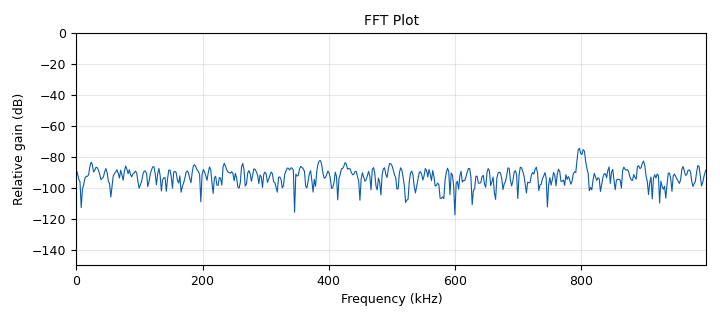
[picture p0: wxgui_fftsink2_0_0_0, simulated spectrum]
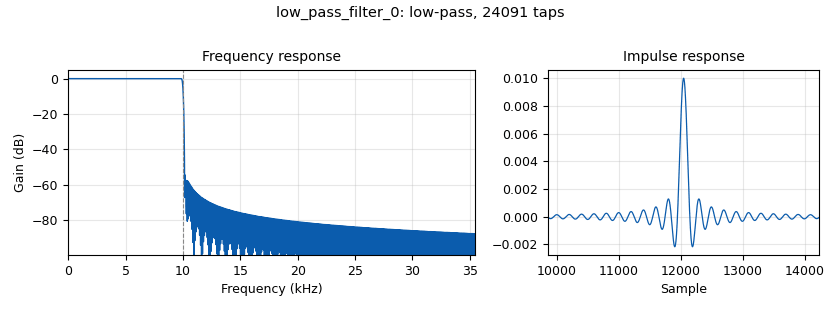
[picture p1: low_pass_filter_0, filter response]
<?xml version='1.0' encoding='utf-8'?>
<?grc format='1' created='3.7.11'?>
<flow_graph>
<block>
<key>options</key>
<param><key>id</key><value>top_block</value></param>
<param><key>category</key><value>Custom</value></param>
<param><key>generate_options</key><value>wx_gui</value></param>
</block>
<block>
<key>variable</key>
<param><key>id</key><value>decimated_rate</value></param>
<param><key>value</key><value>samp_rate / 20</value></param>
</block>
<block>
<key>variable</key>
<param><key>id</key><value>samp_rate</value></param>
<param><key>value</key><value>2000000</value></param>
</block>
<block>
<key>analog_fastnoise_source_x</key>
<param><key>id</key><value>analog_fastnoise_source_x_0</value></param>
<param><key>amp</key><value>0.001</value></param>
<param><key>noise_type</key><value>analog.GR_GAUSSIAN</value></param>
<param><key>type</key><value>float</value></param>
<param><key>seed</key><value>0</value></param>
<param><key>samples</key><value>8192</value></param>
</block>
<block>
<key>analog_sig_source_x</key>
<param><key>id</key><value>analog_sig_source_x_0</value></param>
<param><key>amp</key><value>0.0005</value></param>
<param><key>freq</key><value>804000</value></param>
<param><key>offset</key><value>0</value></param>
<param><key>type</key><value>float</value></param>
<param><key>samp_rate</key><value>samp_rate</value></param>
<param><key>waveform</key><value>analog.GR_COS_WAVE</value></param>
</block>
<block>
<key>analog_sig_source_x</key>
<param><key>id</key><value>analog_sig_source_x_0_0</value></param>
<param><key>amp</key><value>0.0005</value></param>
<param><key>freq</key><value>796000</value></param>
<param><key>offset</key><value>0</value></param>
<param><key>type</key><value>float</value></param>
<param><key>samp_rate</key><value>samp_rate</value></param>
<param><key>waveform</key><value>analog.GR_COS_WAVE</value></param>
</block>
<block>
<key>analog_sig_source_x</key>
<param><key>id</key><value>analog_sig_source_x_0_1</value></param>
<param><key>amp</key><value>1</value></param>
<param><key>freq</key><value>36000</value></param>
<param><key>offset</key><value>0</value></param>
<param><key>type</key><value>complex</value></param>
<param><key>samp_rate</key><value>decimated_rate</value></param>
<param><key>waveform</key><value>analog.GR_COS_WAVE</value></param>
</block>
<block>
<key>blocks_add_xx</key>
<param><key>id</key><value>blocks_add_xx_0</value></param>
<param><key>type</key><value>float</value></param>
<param><key>num_inputs</key><value>3</value></param>
</block>
<block>
<key>blocks_float_to_complex</key>
<param><key>id</key><value>blocks_float_to_complex_0</value></param>
</block>
<block>
<key>blocks_multiply_xx</key>
<param><key>id</key><value>blocks_multiply_xx_0</value></param>
<param><key>type</key><value>float</value></param>
</block>
<block>
<key>blocks_multiply_xx</key>
<param><key>id</key><value>blocks_multiply_xx_0_0</value></param>
<param><key>type</key><value>float</value></param>
</block>
<block>
<key>blocks_multiply_xx</key>
<param><key>id</key><value>blocks_multiply_xx_1</value></param>
<param><key>type</key><value>complex</value></param>
</block>
<block>
<key>blocks_null_sink</key>
<param><key>id</key><value>blocks_null_sink_0</value></param>
<param><key>bus_conns</key><value>[[0,],]</value></param>
<param><key>type</key><value>complex</value></param>
</block>
<block>
<key>blocks_throttle</key>
<param><key>id</key><value>blocks_throttle_0</value></param>
<param><key>samples_per_second</key><value>decimated_rate</value></param>
<param><key>type</key><value>complex</value></param>
</block>
<block>
<key>blocks_wavfile_source</key>
<param><key>id</key><value>blocks_wavfile_source_0</value></param>
<param><key>_enabled</key><value>0</value></param>
<param><key>file</key><value>white.wav</value></param>
<param><key>repeat</key><value>True</value></param>
</block>
<block>
<key>ddc_ddc_f</key>
<param><key>id</key><value>ddc_ddc_f_0</value></param>
<param><key>amp</key><value>1</value></param>
<param><key>freq</key><value>800000</value></param>
<param><key>samp_rate</key><value>samp_rate</value></param>
</block>
<block>
<key>low_pass_filter</key>
<param><key>id</key><value>low_pass_filter_0</value></param>
<param><key>cutoff_freq</key><value>10000</value></param>
<param><key>decim</key><value>20</value></param>
<param><key>type</key><value>fir_filter_fff</value></param>
<param><key>gain</key><value>1</value></param>
<param><key>samp_rate</key><value>samp_rate</value></param>
<param><key>width</key><value>200</value></param>
<param><key>win</key><value>firdes.WIN_HAMMING</value></param>
</block>
<block>
<key>low_pass_filter</key>
<param><key>id</key><value>low_pass_filter_0_0</value></param>
<param><key>cutoff_freq</key><value>10000</value></param>
<param><key>decim</key><value>20</value></param>
<param><key>type</key><value>fir_filter_fff</value></param>
<param><key>gain</key><value>1</value></param>
<param><key>samp_rate</key><value>samp_rate</value></param>
<param><key>width</key><value>200</value></param>
<param><key>win</key><value>firdes.WIN_HAMMING</value></param>
</block>
<block>
<key>wxgui_fftsink2</key>
<param><key>id</key><value>wxgui_fftsink2_0</value></param>
<param><key>avg_alpha</key><value>0</value></param>
<param><key>average</key><value>False</value></param>
<param><key>baseband_freq</key><value>0</value></param>
<param><key>fft_size</key><value>1024</value></param>
<param><key>freqvar</key><value>None</value></param>
<param><key>peak_hold</key><value>False</value></param>
<param><key>ref_level</key><value>0</value></param>
<param><key>ref_scale</key><value>2.0</value></param>
<param><key>fft_rate</key><value>15</value></param>
<param><key>samp_rate</key><value>decimated_rate</value></param>
<param><key>title</key><value>FFT Plot</value></param>
<param><key>type</key><value>complex</value></param>
<param><key>win_size</key><value>800,500</value></param>
<param><key>win</key><value>None</value></param>
<param><key>y_divs</key><value>15</value></param>
<param><key>y_per_div</key><value>10</value></param>
</block>
<block>
<key>wxgui_fftsink2</key>
<param><key>id</key><value>wxgui_fftsink2_0_0</value></param>
<param><key>avg_alpha</key><value>0</value></param>
<param><key>average</key><value>False</value></param>
<param><key>baseband_freq</key><value>0</value></param>
<param><key>_enabled</key><value>0</value></param>
<param><key>fft_size</key><value>1024</value></param>
<param><key>freqvar</key><value>None</value></param>
<param><key>peak_hold</key><value>False</value></param>
<param><key>ref_level</key><value>0</value></param>
<param><key>ref_scale</key><value>2.0</value></param>
<param><key>fft_rate</key><value>15</value></param>
<param><key>samp_rate</key><value>decimated_rate</value></param>
<param><key>title</key><value>FFT Plot</value></param>
<param><key>type</key><value>complex</value></param>
<param><key>win_size</key><value>800,400</value></param>
<param><key>win</key><value>None</value></param>
<param><key>y_divs</key><value>15</value></param>
<param><key>y_per_div</key><value>10</value></param>
</block>
<block>
<key>wxgui_fftsink2</key>
<param><key>id</key><value>wxgui_fftsink2_0_0_0</value></param>
<param><key>avg_alpha</key><value>0</value></param>
<param><key>average</key><value>False</value></param>
<param><key>baseband_freq</key><value>0</value></param>
<param><key>fft_size</key><value>1024</value></param>
<param><key>freqvar</key><value>None</value></param>
<param><key>peak_hold</key><value>False</value></param>
<param><key>ref_level</key><value>0</value></param>
<param><key>ref_scale</key><value>2.0</value></param>
<param><key>fft_rate</key><value>15</value></param>
<param><key>samp_rate</key><value>samp_rate</value></param>
<param><key>title</key><value>FFT Plot</value></param>
<param><key>type</key><value>float</value></param>
<param><key>win_size</key><value>800,500</value></param>
<param><key>win</key><value>None</value></param>
<param><key>y_divs</key><value>15</value></param>
<param><key>y_per_div</key><value>10</value></param>
</block>
<connection><source_block_id>analog_fastnoise_source_x_0</source_block_id><sink_block_id>blocks_add_xx_0</sink_block_id><source_key>0</source_key><sink_key>0</sink_key></connection>
<connection><source_block_id>analog_sig_source_x_0</source_block_id><sink_block_id>blocks_add_xx_0</sink_block_id><source_key>0</source_key><sink_key>1</sink_key></connection>
<connection><source_block_id>analog_sig_source_x_0_0</source_block_id><sink_block_id>blocks_add_xx_0</sink_block_id><source_key>0</source_key><sink_key>2</sink_key></connection>
<connection><source_block_id>analog_sig_source_x_0_1</source_block_id><sink_block_id>blocks_multiply_xx_1</sink_block_id><source_key>0</source_key><sink_key>1</sink_key></connection>
<connection><source_block_id>blocks_add_xx_0</source_block_id><sink_block_id>blocks_multiply_xx_0</sink_block_id><source_key>0</source_key><sink_key>1</sink_key></connection>
<connection><source_block_id>blocks_add_xx_0</source_block_id><sink_block_id>blocks_multiply_xx_0_0</sink_block_id><source_key>0</source_key><sink_key>1</sink_key></connection>
<connection><source_block_id>blocks_add_xx_0</source_block_id><sink_block_id>wxgui_fftsink2_0_0_0</sink_block_id><source_key>0</source_key><sink_key>0</sink_key></connection>
<connection><source_block_id>blocks_float_to_complex_0</source_block_id><sink_block_id>blocks_multiply_xx_1</sink_block_id><source_key>0</source_key><sink_key>0</sink_key></connection>
<connection><source_block_id>blocks_float_to_complex_0</source_block_id><sink_block_id>blocks_throttle_0</sink_block_id><source_key>0</source_key><sink_key>0</sink_key></connection>
<connection><source_block_id>blocks_multiply_xx_0</source_block_id><sink_block_id>low_pass_filter_0_0</sink_block_id><source_key>0</source_key><sink_key>0</sink_key></connection>
<connection><source_block_id>blocks_multiply_xx_0_0</source_block_id><sink_block_id>low_pass_filter_0</sink_block_id><source_key>0</source_key><sink_key>0</sink_key></connection>
<connection><source_block_id>blocks_multiply_xx_1</source_block_id><sink_block_id>blocks_null_sink_0</sink_block_id><source_key>0</source_key><sink_key>0</sink_key></connection>
<connection><source_block_id>blocks_multiply_xx_1</source_block_id><sink_block_id>wxgui_fftsink2_0_0</sink_block_id><source_key>0</source_key><sink_key>0</sink_key></connection>
<connection><source_block_id>blocks_throttle_0</source_block_id><sink_block_id>wxgui_fftsink2_0</sink_block_id><source_key>0</source_key><sink_key>0</sink_key></connection>
<connection><source_block_id>blocks_wavfile_source_0</source_block_id><sink_block_id>blocks_add_xx_0</sink_block_id><source_key>0</source_key><sink_key>0</sink_key></connection>
<connection><source_block_id>ddc_ddc_f_0</source_block_id><sink_block_id>blocks_multiply_xx_0</sink_block_id><source_key>1</source_key><sink_key>0</sink_key></connection>
<connection><source_block_id>ddc_ddc_f_0</source_block_id><sink_block_id>blocks_multiply_xx_0_0</sink_block_id><source_key>0</source_key><sink_key>0</sink_key></connection>
<connection><source_block_id>low_pass_filter_0</source_block_id><sink_block_id>blocks_float_to_complex_0</sink_block_id><source_key>0</source_key><sink_key>0</sink_key></connection>
<connection><source_block_id>low_pass_filter_0_0</source_block_id><sink_block_id>blocks_float_to_complex_0</sink_block_id><source_key>0</source_key><sink_key>1</sink_key></connection>
</flow_graph>
